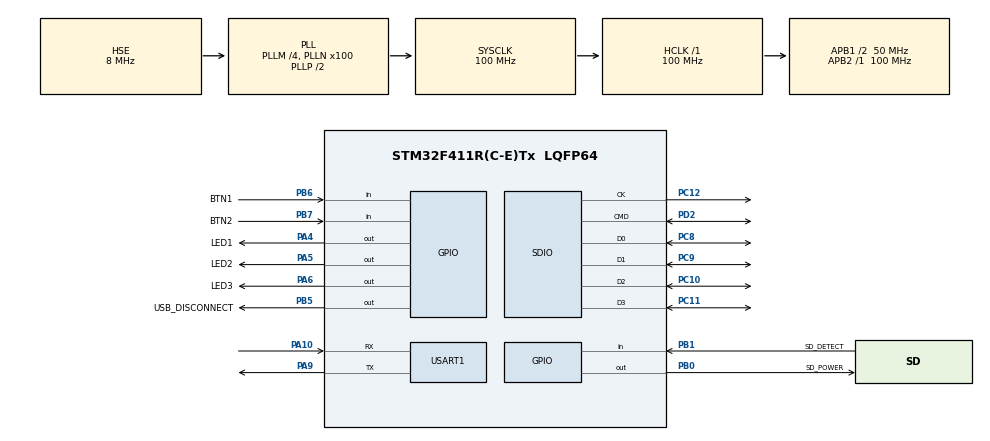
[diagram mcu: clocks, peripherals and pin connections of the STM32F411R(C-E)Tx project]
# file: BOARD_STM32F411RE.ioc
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FATFS.BSP.number=1
FATFS0.BSP.STBoard=false
FATFS0.BSP.api=Unknown
FATFS0.BSP.instance=PB1
FATFS0.BSP.ip=GPIO
FATFS0.BSP.mode=Input
FATFS0.BSP.name=Detect_SDIO
FATFS0.BSP.solution=PB1
FREERTOS.Tasks01=defaultTask,24,128,StartDefaultTask,Default,NULL,Dynamic,NULL,NULL;blinkTask,8,128,StartTask02,Default,NULL,Dynamic,NULL,NULL;myTask1ms,16,128,StartTask03,Default,NULL,Dynamic,NULL,NULL;myTask10ms,24,128,StartTask04,Default,NULL,Dynamic,NULL,NULL;myTask50ms,24,128,StartTask05,Default,NULL,Dynamic,NULL,NULL
FREERTOS.configENABLE_FPU=0
Mcu.Family=STM32F4
Mcu.Name=STM32F411R(C-E)Tx
Mcu.Package=LQFP64
NVIC.PriorityGroup=NVIC_PRIORITYGROUP_4
NVIC.TIM1_UP_TIM10_IRQn=true\:0\:0\:false\:false\:true\:false\:false\:true\:true
NVIC.TimeBase=TIM1_UP_TIM10_IRQn
NVIC.TimeBaseIP=TIM1
PA10.Mode=Asynchronous
PA10.Signal=USART1_RX
PA13.Mode=Trace_Asynchronous_SW
PA13.Signal=SYS_JTMS-SWDIO
PA14.Mode=Trace_Asynchronous_SW
PA14.Signal=SYS_JTCK-SWCLK
PA4.GPIO_Label=LED1
PA4.Signal=GPIO_Output
PA5.GPIO_Label=LED2
PA5.Signal=GPIO_Output
PA6.GPIO_Label=LED3
PA6.Signal=GPIO_Output
PA9.Mode=Asynchronous
PA9.Signal=USART1_TX
PB0.GPIO_Label=SD_POWER
PB0.Signal=GPIO_Output
PB1.GPIO_Label=SD_DETECT
PB1.Signal=GPIO_Input
PB3.Mode=Trace_Asynchronous_SW
PB3.Signal=SYS_JTDO-SWO
PB5.GPIO_Label=USB_DISCONNECT
PB5.Signal=GPIO_Output
PB6.GPIO_Label=BTN1
PB6.Signal=GPIO_Input
PB7.GPIO_Label=BTN2
PB7.Signal=GPIO_Input
PC10.Mode=SD_4_bits_Wide_bus
PC10.Signal=SDIO_D2
PC11.Mode=SD_4_bits_Wide_bus
PC11.Signal=SDIO_D3
PC12.Mode=SD_4_bits_Wide_bus
PC12.Signal=SDIO_CK
PC14-OSC32_IN.Mode=LSE-External-Oscillator
PC14-OSC32_IN.Signal=RCC_OSC32_IN
PC15-OSC32_OUT.Mode=LSE-External-Oscillator
PC15-OSC32_OUT.Signal=RCC_OSC32_OUT
PC8.Mode=SD_4_bits_Wide_bus
PC8.Signal=SDIO_D0
PC9.Mode=SD_4_bits_Wide_bus
PC9.Signal=SDIO_D1
PD2.Mode=SD_4_bits_Wide_bus
PD2.Signal=SDIO_CMD
PH0\ -\ OSC_IN.Mode=HSE-External-Oscillator
PH0\ -\ OSC_IN.Signal=RCC_OSC_IN
PH1\ -\ OSC_OUT.Mode=HSE-External-Oscillator
PH1\ -\ OSC_OUT.Signal=RCC_OSC_OUT
ProjectManager.HeapSize=0x400
ProjectManager.StackSize=0x200
ProjectManager.TargetToolchain=EWARM V8.50
RCC.48MHZClocksFreq_Value=40000000
RCC.AHBFreq_Value=100000000
RCC.APB1CLKDivider=RCC_HCLK_DIV2
RCC.APB1Freq_Value=50000000
RCC.APB1TimFreq_Value=100000000
RCC.APB2Freq_Value=100000000
RCC.APB2TimFreq_Value=100000000
RCC.CortexFreq_Value=100000000
RCC.HCLKFreq_Value=100000000
RCC.HSE_VALUE=8000000
RCC.HSI_VALUE=16000000
RCC.PLLM=4
RCC.PLLN=100
RCC.PLLQ=5
RCC.PLLSourceVirtual=RCC_PLLSOURCE_HSE
RCC.RCC_RTC_Clock_Source=RCC_RTCCLKSOURCE_LSE
RCC.RCC_RTC_Clock_SourceVirtual=RCC_RTCCLKSOURCE_LSE
RCC.SYSCLKFreq_VALUE=100000000
RCC.SYSCLKSource=RCC_SYSCLKSOURCE_PLLCLK
RCC.VCOOutputFreq_Value=200000000
USART1.VirtualMode=VM_ASYNC
VP_CRC_VS_CRC.Mode=CRC_Activate
VP_FATFS_VS_SDIO.Mode=SDIO
VP_FREERTOS_VS_CMSIS_V2.Mode=CMSIS_V2
VP_RTC_VS_RTC_Activate.Mode=RTC_Enabled
VP_RTC_VS_RTC_Calendar.Mode=RTC_Calendar
VP_SYS_VS_tim1.Mode=TIM1
board=custom

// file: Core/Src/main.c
/* USER CODE BEGIN Header */
/**
  ******************************************************************************
  * @file           : main.c
  * @brief          : Main program body
  ******************************************************************************
  * @attention
  *
  * <h2><center>&copy; Copyright (c) 2021 STMicroelectronics.
  * All rights reserved.</center></h2>
  *
  * This software component is licensed by ST under Ultimate Liberty license
  * SLA0044, the "License"; You may not use this file except in compliance with
  * the License. You may obtain a copy of the License at:
  *                             www.st.com/SLA0044
  *
  ******************************************************************************
  */
/* USER CODE END Header */
#include "main.h"
#include "cmsis_os.h"
#include "fatfs.h"

CRC_HandleTypeDef hcrc;

RTC_HandleTypeDef hrtc;

SD_HandleTypeDef hsd;

UART_HandleTypeDef huart1;

/* Definitions for defaultTask */
osThreadId_t defaultTaskHandle;
const osThreadAttr_t defaultTask_attributes = {
  .name = "defaultTask",
  .stack_size = 128 * 4,
  .priority = (osPriority_t) osPriorityNormal,
};
/* Definitions for blinkTask */
osThreadId_t blinkTaskHandle;
const osThreadAttr_t blinkTask_attributes = {
  .name = "blinkTask",
  .stack_size = 128 * 4,
  .priority = (osPriority_t) osPriorityLow,
};
/* Definitions for myTask1ms */
osThreadId_t myTask1msHandle;
const osThreadAttr_t myTask1ms_attributes = {
  .name = "myTask1ms",
  .stack_size = 128 * 4,
  .priority = (osPriority_t) osPriorityBelowNormal,
};
/* Definitions for myTask10ms */
osThreadId_t myTask10msHandle;
const osThreadAttr_t myTask10ms_attributes = {
  .name = "myTask10ms",
  .stack_size = 128 * 4,
  .priority = (osPriority_t) osPriorityNormal,
};
/* Definitions for myTask50ms */
osThreadId_t myTask50msHandle;
const osThreadAttr_t myTask50ms_attributes = {
  .name = "myTask50ms",
  .stack_size = 128 * 4,
  .priority = (osPriority_t) osPriorityNormal,
};
/* USER CODE BEGIN PV */

RTC_TimeTypeDef sTime = {0};
RTC_DateTypeDef sDate = {0};

/* USER CODE END PV */

void SystemClock_Config(void);
static void MX_GPIO_Init(void);
static void MX_CRC_Init(void);
static void MX_RTC_Init(void);
static void MX_SDIO_SD_Init(void);
static void MX_USART1_UART_Init(void);
void StartDefaultTask(void *argument);
void StartTask02(void *argument);
void StartTask03(void *argument);
void StartTask04(void *argument);
void StartTask05(void *argument);

/* USER CODE BEGIN 0 */
int MyLowLevelPutchar(int x) // отправка байта в UART
{
#ifdef SEGGER_RTT_H
	SEGGER_RTT_PutChar(0, x);
#endif
  	HAL_UART_Transmit(&huart1, (uint8_t *)&x, 1, 0xFFFF);
	return(x);
}

int MyLowLevelGetchar() // получение байта из UART
{
  	uint8_t x;
	do
	{
	  	HAL_UART_Receive(&huart1, (uint8_t *)&x, 1, 0xFFFF);
	}
	while(x == 0);
	return((int)x);
}
/* USER CODE END 0 */

int main(void)
{

  /* USER CODE BEGIN 1 */
	// для правильной работы с bootloader
	__disable_irq();
	__DMB(); // ARM рекомендует выполнить инструкцию DMB перед перемещением VTOR
	SCB->VTOR = APP_START_ADDR; // Vector Table Relocation
	__enable_irq();
  /* USER CODE END 1 */

  /* MCU Configuration--------------------------------------------------------*/

  /* Reset of all peripherals, Initializes the Flash interface and the Systick. */
  HAL_Init();

  /* Configure the system clock */
  SystemClock_Config();

  /* Initialize all configured peripherals */
  MX_GPIO_Init();
  MX_CRC_Init();
  MX_RTC_Init();
  MX_SDIO_SD_Init();
  MX_USART1_UART_Init();
  MX_FATFS_Init();
  /* USER CODE BEGIN 2 */
	LOG_START();
	printf("\r\n (c) RusikOk %s %s \r\n", __DATE__, __TIME__);	 // приветствие

	// читаем данные отправленные из bootloader
	blInit(&hrtc);

  /* USER CODE END 2 */

  /* Init scheduler */
  osKernelInitialize();

  /* Create the thread(s) */
  /* creation of defaultTask */
  defaultTaskHandle = osThreadNew(StartDefaultTask, NULL, &defaultTask_attributes);

  /* creation of blinkTask */
  blinkTaskHandle = osThreadNew(StartTask02, NULL, &blinkTask_attributes);

  /* creation of myTask1ms */
  myTask1msHandle = osThreadNew(StartTask03, NULL, &myTask1ms_attributes);

  /* creation of myTask10ms */
  myTask10msHandle = osThreadNew(StartTask04, NULL, &myTask10ms_attributes);

  /* creation of myTask50ms */
  myTask50msHandle = osThreadNew(StartTask05, NULL, &myTask50ms_attributes);

  /* Start scheduler */
  osKernelStart();

  /* We should never get here as control is now taken by the scheduler */

  /* Infinite loop */
  while (1)
  {

  }
}

void SystemClock_Config(void)
{
  RCC_OscInitTypeDef RCC_OscInitStruct = {0};
  RCC_ClkInitTypeDef RCC_ClkInitStruct = {0};

  /** Configure the main internal regulator output voltage
  */
  __HAL_RCC_PWR_CLK_ENABLE();
  __HAL_PWR_VOLTAGESCALING_CONFIG(PWR_REGULATOR_VOLTAGE_SCALE1);

  /** Initializes the RCC Oscillators according to the specified parameters
  * in the RCC_OscInitTypeDef structure.
  */
  RCC_OscInitStruct.OscillatorType = RCC_OSCILLATORTYPE_HSE|RCC_OSCILLATORTYPE_LSE;
  RCC_OscInitStruct.HSEState = RCC_HSE_ON;
  RCC_OscInitStruct.LSEState = RCC_LSE_ON;
  RCC_OscInitStruct.PLL.PLLState = RCC_PLL_ON;
  RCC_OscInitStruct.PLL.PLLSource = RCC_PLLSOURCE_HSE;
  RCC_OscInitStruct.PLL.PLLM = 4;
  RCC_OscInitStruct.PLL.PLLN = 100;
  RCC_OscInitStruct.PLL.PLLP = RCC_PLLP_DIV2;
  RCC_OscInitStruct.PLL.PLLQ = 5;
  if (HAL_RCC_OscConfig(&RCC_OscInitStruct) != HAL_OK)
  {
    Error_Handler();
  }

  /** Initializes the CPU, AHB and APB buses clocks
  */
  RCC_ClkInitStruct.ClockType = RCC_CLOCKTYPE_HCLK|RCC_CLOCKTYPE_SYSCLK
                              |RCC_CLOCKTYPE_PCLK1|RCC_CLOCKTYPE_PCLK2;
  RCC_ClkInitStruct.SYSCLKSource = RCC_SYSCLKSOURCE_PLLCLK;
  RCC_ClkInitStruct.AHBCLKDivider = RCC_SYSCLK_DIV1;
  RCC_ClkInitStruct.APB1CLKDivider = RCC_HCLK_DIV2;
  RCC_ClkInitStruct.APB2CLKDivider = RCC_HCLK_DIV1;

  if (HAL_RCC_ClockConfig(&RCC_ClkInitStruct, FLASH_LATENCY_3) != HAL_OK)
  {
    Error_Handler();
  }
}

static void MX_CRC_Init(void)
{

  hcrc.Instance = CRC;
  if (HAL_CRC_Init(&hcrc) != HAL_OK)
  {
    Error_Handler();
  }

}

static void MX_RTC_Init(void)
{

  RTC_TimeTypeDef sTime = {0};
  RTC_DateTypeDef sDate = {0};

  /* USER CODE BEGIN RTC_Init 1 */

	if((*(__IO uint32_t *)RCC_BDCR_RTCEN_BB) == ENABLE) // если батарейка жива и часы идут
		return; // то пропустим инициализачию часов нулями

  /* USER CODE END RTC_Init 1 */

  /** Initialize RTC Only
  */
  hrtc.Instance = RTC;
  hrtc.Init.HourFormat = RTC_HOURFORMAT_24;
  hrtc.Init.AsynchPrediv = 127;
  hrtc.Init.SynchPrediv = 255;
  hrtc.Init.OutPut = RTC_OUTPUT_DISABLE;
  hrtc.Init.OutPutPolarity = RTC_OUTPUT_POLARITY_HIGH;
  hrtc.Init.OutPutType = RTC_OUTPUT_TYPE_OPENDRAIN;
  if (HAL_RTC_Init(&hrtc) != HAL_OK)
  {
    Error_Handler();
  }

  /** Initialize RTC and set the Time and Date
  */
  sTime.Hours = 0x0;
  sTime.Minutes = 0x0;
  sTime.Seconds = 0x0;
  sTime.DayLightSaving = RTC_DAYLIGHTSAVING_NONE;
  sTime.StoreOperation = RTC_STOREOPERATION_RESET;
  if (HAL_RTC_SetTime(&hrtc, &sTime, RTC_FORMAT_BCD) != HAL_OK)
  {
    Error_Handler();
  }
  sDate.WeekDay = RTC_WEEKDAY_MONDAY;
  sDate.Month = RTC_MONTH_JANUARY;
  sDate.Date = 0x1;
  sDate.Year = 0x0;

  if (HAL_RTC_SetDate(&hrtc, &sDate, RTC_FORMAT_BCD) != HAL_OK)
  {
    Error_Handler();
  }

}

static void MX_SDIO_SD_Init(void)
{

  hsd.Instance = SDIO;
  hsd.Init.ClockEdge = SDIO_CLOCK_EDGE_RISING;
  hsd.Init.ClockBypass = SDIO_CLOCK_BYPASS_DISABLE;
  hsd.Init.ClockPowerSave = SDIO_CLOCK_POWER_SAVE_DISABLE;
  hsd.Init.BusWide = SDIO_BUS_WIDE_1B;
  hsd.Init.HardwareFlowControl = SDIO_HARDWARE_FLOW_CONTROL_DISABLE;
  hsd.Init.ClockDiv = 0;

}

static void MX_USART1_UART_Init(void)
{

  huart1.Instance = USART1;
  huart1.Init.BaudRate = 115200;
  huart1.Init.WordLength = UART_WORDLENGTH_8B;
  huart1.Init.StopBits = UART_STOPBITS_1;
  huart1.Init.Parity = UART_PARITY_NONE;
  huart1.Init.Mode = UART_MODE_TX_RX;
  huart1.Init.HwFlowCtl = UART_HWCONTROL_NONE;
  huart1.Init.OverSampling = UART_OVERSAMPLING_16;
  if (HAL_UART_Init(&huart1) != HAL_OK)
  {
    Error_Handler();
  }

}

static void MX_GPIO_Init(void)
{
  GPIO_InitTypeDef GPIO_InitStruct = {0};

  /* GPIO Ports Clock Enable */
  __HAL_RCC_GPIOC_CLK_ENABLE();
  __HAL_RCC_GPIOH_CLK_ENABLE();
  __HAL_RCC_GPIOA_CLK_ENABLE();
  __HAL_RCC_GPIOB_CLK_ENABLE();
  __HAL_RCC_GPIOD_CLK_ENABLE();

  /*Configure GPIO pin Output Level */
  HAL_GPIO_WritePin(GPIOA, LED1_Pin|LED2_Pin|LED3_Pin, GPIO_PIN_RESET);

  /*Configure GPIO pin Output Level */
  HAL_GPIO_WritePin(GPIOB, SD_POWER_Pin|USB_DISCONNECT_Pin, GPIO_PIN_RESET);

  /*Configure GPIO pins : LED1_Pin LED2_Pin LED3_Pin */
  GPIO_InitStruct.Pin = LED1_Pin|LED2_Pin|LED3_Pin;
  GPIO_InitStruct.Mode = GPIO_MODE_OUTPUT_PP;
  GPIO_InitStruct.Pull = GPIO_NOPULL;
  GPIO_InitStruct.Speed = GPIO_SPEED_FREQ_LOW;
  HAL_GPIO_Init(GPIOA, &GPIO_InitStruct);

  /*Configure GPIO pins : SD_POWER_Pin USB_DISCONNECT_Pin */
  GPIO_InitStruct.Pin = SD_POWER_Pin|USB_DISCONNECT_Pin;
  GPIO_InitStruct.Mode = GPIO_MODE_OUTPUT_PP;
  GPIO_InitStruct.Pull = GPIO_NOPULL;
  GPIO_InitStruct.Speed = GPIO_SPEED_FREQ_LOW;
  HAL_GPIO_Init(GPIOB, &GPIO_InitStruct);

  /*Configure GPIO pins : SD_DETECT_Pin BTN1_Pin BTN2_Pin */
  GPIO_InitStruct.Pin = SD_DETECT_Pin|BTN1_Pin|BTN2_Pin;
  GPIO_InitStruct.Mode = GPIO_MODE_INPUT;
  GPIO_InitStruct.Pull = GPIO_NOPULL;
  HAL_GPIO_Init(GPIOB, &GPIO_InitStruct);

}

void StartDefaultTask(void *argument)
{
  for(;;)
  {
    osDelay(1);
  }
}

void StartTask02(void *argument)
{
  /* USER CODE BEGIN StartTask02 */
	TickType_t xLastWakeTime;
    const TickType_t xFrequency = 500 / portTICK_PERIOD_MS;
	xLastWakeTime = xTaskGetTickCount();

	/* Infinite loop */
	for(;;)
	{
		//HAL_GPIO_TogglePin(LED2_GPIO_Port, LED2_Pin);

		vTaskDelayUntil(&xLastWakeTime, xFrequency);
	}
  /* USER CODE END StartTask02 */
}

void StartTask03(void *argument)
{
  /* USER CODE BEGIN StartTask03 */
	TickType_t xLastWakeTime;
    const TickType_t xFrequency = 50 / portTICK_PERIOD_MS;
	xLastWakeTime = xTaskGetTickCount();

	/* Infinite loop */
	for(;;)
	{
		HAL_GPIO_TogglePin(LED1_GPIO_Port, LED1_Pin);

		vTaskDelayUntil(&xLastWakeTime, xFrequency);
	}
  /* USER CODE END StartTask03 */
}

void StartTask04(void *argument)
{
  /* USER CODE BEGIN StartTask04 */
	TickType_t xLastWakeTime;
    const TickType_t xFrequency = 100 / portTICK_PERIOD_MS;
	xLastWakeTime = xTaskGetTickCount();

	/* Infinite loop */
	for(;;)
	{
		HAL_GPIO_TogglePin(LED2_GPIO_Port, LED2_Pin);

		vTaskDelayUntil(&xLastWakeTime, xFrequency);
	}
  /* USER CODE END StartTask04 */
}

void StartTask05(void *argument)
{
  /* USER CODE BEGIN StartTask05 */
	TickType_t xLastWakeTime;
    const TickType_t xFrequency = 500 / portTICK_PERIOD_MS;
	xLastWakeTime = xTaskGetTickCount();

	/* Infinite loop */
	for(;;)
	{
		HAL_GPIO_TogglePin(LED3_GPIO_Port, LED3_Pin);

		vTaskDelayUntil(&xLastWakeTime, xFrequency);
	}
  /* USER CODE END StartTask05 */
}

void HAL_TIM_PeriodElapsedCallback(TIM_HandleTypeDef *htim)
{
  if (htim->Instance == TIM1)
  {
    HAL_IncTick();
  }
}

void Error_Handler(void)
{
  __disable_irq();
  while (1)
  {
  }
}
